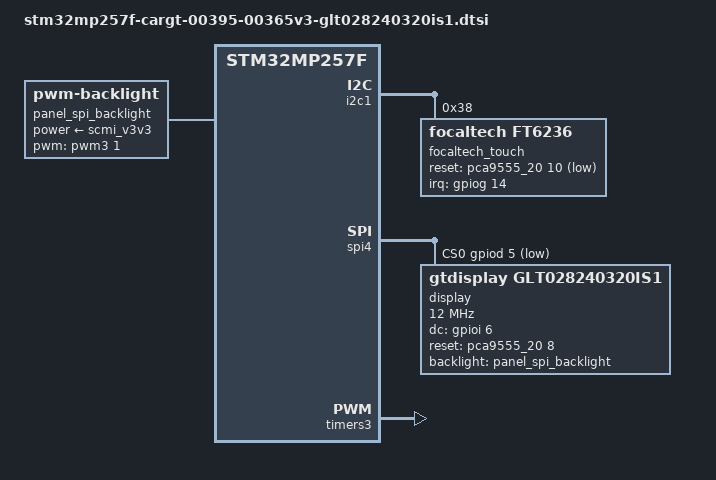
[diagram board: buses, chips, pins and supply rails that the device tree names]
/ {
	panel_spi_backlight: panel_spi_backlight {
		/* PB15 is the proven GLT028 backlight net; keep testing PWM on TIM3_CH2 */
		compatible = "pwm-backlight";
		pwms = <&pwm3 1 1000000 0>;
		brightness-levels = <0 100>;
		num-interpolated-steps = <100>;
		default-brightness-level = <100>;
		power-supply = <&scmi_v3v3>;
		status = "okay";
	};
};

&i2c1 {
	status = "okay";

	focaltech_touch: touchscreen@38 {
		compatible = "focaltech,ft6236";
		reg = <0x38>;
		pinctrl-names = "default";
		pinctrl-0 = <&pinctrl_spi_touchscreen>;
		interrupt-parent = <&gpiog>;
		interrupts = <14 IRQ_TYPE_EDGE_FALLING>;
		reset-gpios = <&pca9555_20 10 GPIO_ACTIVE_LOW>;
		touchscreen-size-x = <240>;
		touchscreen-size-y = <320>;
		touchscreen-inverted-x;
		wakeup-source;
		status = "okay";
	};
};

/* USART3_TX (PI6) is repurposed as the SPI display D/C GPIO */
&usart3 {
	status = "disabled";
};

&spi4 {
	status = "okay";
	/delete-property/pinctrl-1;
	pinctrl-names = "default";
	pinctrl-0 = <&spi4_pins_mx>;
	cs-gpios = <&gpiod 5 GPIO_ACTIVE_LOW>;

	display@0 {
		compatible = "gtdisplay,glt028240320IS1", "sitronix,st7789t3";
		reg = <0>;
		spi-max-frequency = <12000000>;
		dc-gpios = <&gpioi 6 GPIO_ACTIVE_HIGH>;
		reset-gpios = <&pca9555_20 8 GPIO_ACTIVE_HIGH>;
		backlight = <&panel_spi_backlight>;
	};
};

&timers3 {
	/delete-property/pinctrl-names;
	/delete-property/pinctrl-0;
	/delete-property/pinctrl-1;
	/delete-property/dmas;
	/delete-property/dma-names;
	status = "okay";

	pwm3: pwm {
		pinctrl-names = "default", "sleep";
		pinctrl-0 = <&pinctrl_glt028_backlight_pwm_default>;
		pinctrl-1 = <&pinctrl_glt028_backlight_pwm_sleep>;
		status = "okay";
	};
};

&pinctrl {
	pinctrl_glt028_backlight_pwm_default: glt028-backlight-pwm-default-0 {
		pins {
			pinmux = <STM32_PINMUX('B', 15, AF7)>; /* TIM3_CH2 on STM32MP257 (old AF2 comment came from earlier STM32 variants) */
			bias-disable;
			drive-push-pull;
			slew-rate = <0>;
		};
	};

	pinctrl_glt028_backlight_pwm_sleep: glt028-backlight-pwm-sleep-0 {
		pins {
			pinmux = <STM32_PINMUX('B', 15, ANALOG)>; /* TIM3_CH2 */
		};
	};

	pinctrl_spi_tft_dc: spi-tft-dc-0 {
		pins {
			pinmux = <STM32_PINMUX('I', 6, GPIO)>; /* USART3_TX repurposed as SPI TFT D/C */
			drive-push-pull;
			slew-rate = <1>;
		};
	};

	pinctrl_spi_touchscreen: spi-touchscreen-0 {
		pins {
			pinmux = <STM32_PINMUX('G', 14, GPIO)>; /* USART1_TX repurposed as SPI TFT touch INT */
			bias-pull-up;
		};
	};
};
